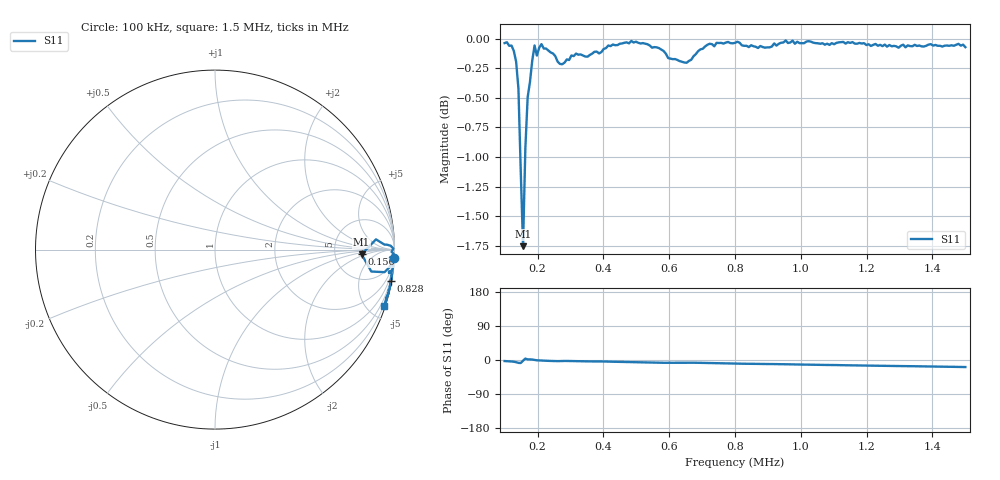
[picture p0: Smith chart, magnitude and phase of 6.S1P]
!Agilent Technologies,E5071C,MY46100305,A.07.02
!Date: Fri Jan 01 01:36:44 1988
!Data & Calibration Information:
!Freq	S11:SOLT1(ON)
# Hz S MA R 50
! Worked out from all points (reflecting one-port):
!   201 points, 100 kHz to 1.5 MHz, reference 50 ohm
!   lowest |S11| = -1.8 dB at 156 kHz (marker M1), VSWR 9.94, Z = 485 - j75.9 ohm
!   phase of S11 starts at -3 deg and turns -16 deg over the sweep
!   S11 on the Smith chart (normalised r, x): 100 kHz: 4, -41; 156 kHz: 9.70, -1.52; 828 kHz: 0, -11; 1.5 MHz: 0.16, -6.10
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100000  0.9958 -2.8
128000  0.9882 -4.6
135000  0.9779 -5.7
142000  0.9526 -7.6
149000  0.8795 -8.0
156000  0.8172 -1.8
163000  0.8987 3.6
170000  0.9446 1.7
184000  0.979 1.2
191000  0.9935 0.3
198000  0.9838 -0.8
212000  0.9948 -1.3
233000  0.9886 -2.3
254000  0.9832 -3.0
275000  0.9755 -2.7
317000  0.9856 -3.0
394000  0.9871 -3.8
450000  0.9952 -4.9
569000  0.9909 -7.2
625000  0.9796 -7.5
674000  0.9831 -7.1
723000  0.9951 -8.0
800000  0.996 -9.4
828000  0.9931 -10.0
975000  0.9982 -11.6
1150000  0.996 -14.0
1325000  0.9936 -16.3
1500000  0.9918 -18.6
